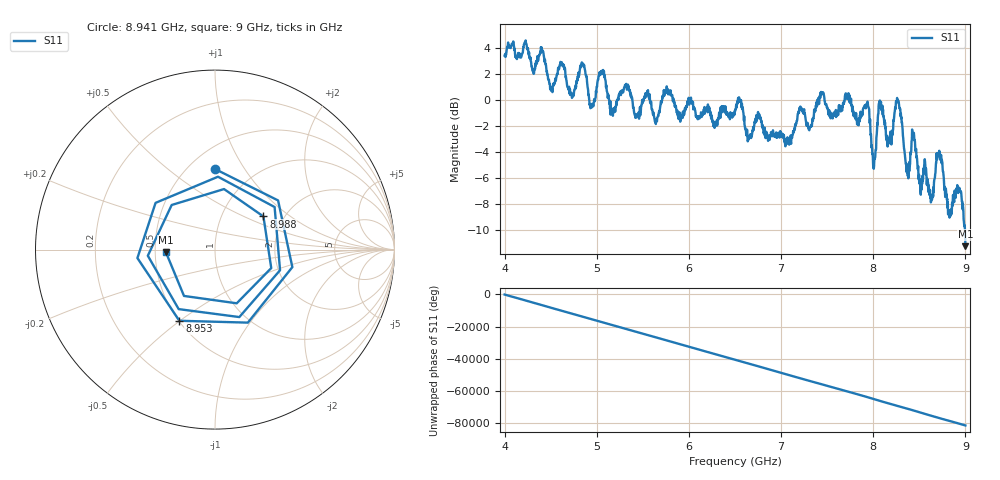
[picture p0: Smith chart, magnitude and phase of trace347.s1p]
! Created with skrf 1.8.0 (http://scikit-rf.org).
# Hz S RI R 50.0
!freq ReS11 ImS11
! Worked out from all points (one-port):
!   1601 points, 4 GHz to 9 GHz, reference 50 ohm
!   lowest |S11| = -11.2 dB at 9 GHz (marker M1), VSWR 1.75, Z = 28.5 - j0.922 ohm
!   |S11| at or under -10 dB: 8.995599 GHz to end of sweep
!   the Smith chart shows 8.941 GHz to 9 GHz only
!   S11 on the Smith chart (normalised r, x): 8.941 GHz: 0.66, +0.75; 8.953 GHz: 0.50, -0.50; 8.988 GHz: 1.57, +0.65; 9 GHz: 0.57, -0.02
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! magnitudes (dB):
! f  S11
! 4 GHz  3.4
! 4.403 GHz  3.8
! 4.512 GHz  0.9
! 4.625 GHz  2.7
! 4.728 GHz  0.5
! 4.85 GHz  2.8
! 4.944 GHz  -0.5
! 5.053 GHz  2.0
! 5.162 GHz  -0.9
! 5.25 GHz  0.4
! 5.875 GHz  -0.8
! 6.5 GHz  -0.8
! 7.125 GHz  -2.7
! 7.75 GHz  0.0
! 7.931 GHz  -0.3
! 8.006 GHz  -5.3
! 8.075 GHz  -0.4
! 8.172 GHz  -3.3
! 8.269 GHz  -0.1
! 8.375 GHz  -5.8
! 8.441 GHz  -2.5
! 8.622 GHz  -7.4
! 8.712 GHz  -4.2
! 8.828 GHz  -9.0
! 8.941 GHz  -7.0
! 8.953 GHz  -7.1
! 8.988 GHz  -9.7
! 9 GHz  -11.2
